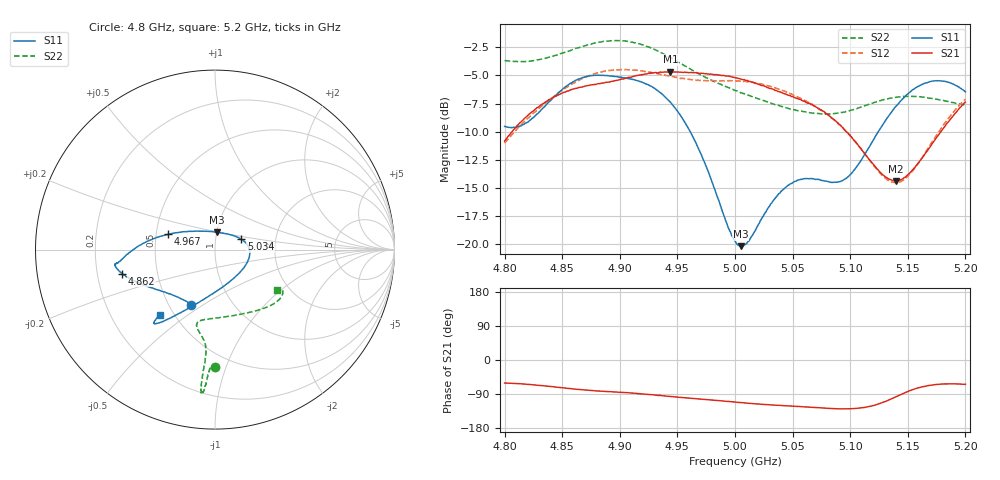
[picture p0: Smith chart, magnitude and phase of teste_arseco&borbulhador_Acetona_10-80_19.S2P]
! Network Analyzer HP8722D
! Hewlett-Packard
! Data name: Linha & Wilkinson
! Saver's name: Rodrigo Anjos
! Comments: Teste da utilização de aquisição
! continua pelo VNA HP8722D
! Time and date: 17/4/2025 14:31
!  Frequency  S11  S21  S12  S22
# HZ  S  MA R 50
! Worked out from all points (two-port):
!   401 points, 4.8 GHz to 5.2 GHz, reference 50 ohm
!   highest |S21| = -4.65 dB at 4.944 GHz (marker M1); lowest = -14.4 dB at 5.14 GHz (marker M2)
!   |S21| within 3 dB of the highest: 4.831 GHz to 5.068 GHz (236.4 MHz wide, 4.78 % of centre); 5.197345 GHz to end of sweep
!   lowest |S11| = -20.2 dB at 5.005 GHz (marker M3), VSWR 1.22, Z = 49.9 + j9.81 ohm
!   |S11| at or under -10 dB: 4.961 GHz to 5.124 GHz (163.3 MHz wide, 3.24 % of centre)
!   |S22| runs from -8.5 to -1.9 dB; largest |S21 - S12| = 0.88
!   S11 on the Smith chart (normalised r, x): 4.8 GHz: 0.65, -0.45; 4.862 GHz: 0.31, -0.11; 4.967 GHz: 0.58, +0.11; 5.034 GHz: 1.33, +0.16; 5.2 GHz: 0.42, -0.39
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4.8e9  0.3335 -113.3  0.2869 -60.8  0.2813 -175.0  0.6552 -89.9
4.819e9  0.3465 -133.1  0.3685 -64.0  0.358 -173.6  0.6494 -91.5
4.862e9  0.535 -165.5  0.4932 -77.0  0.5285 -176.6  0.7428 -93.8
4.867e9  0.5486 -167.5  0.4987 -78.5  0.5436 -177.7  0.7562 -94.0
4.902e9  0.5504 -172.3  0.5422 -85.4  0.5966 175.1  0.8024 -95.4
4.934e9  0.4764 -178.1  0.5798 -93.6  0.571 171.8  0.7174 -95.7
4.944e9  0.4271 177.3  0.5854 -96.3  0.5564 171.8  0.6763 -95.5
4.967e9  0.2751 162.0  0.5774 -102.2  0.5341 173.9  0.577 -94.9
5e9  0.1031 102.3  0.5499 -111.1  0.5319 176.2  0.4822 -99.2
5.005e9  0.09773 84.9  0.5417 -112.4  0.5301 176.2  0.4703 -100.4
5.012e9  0.103 62.2  0.5289 -114.2  0.5258 175.9  0.4584 -101.8
5.034e9  0.1578 21.4  0.4856 -119.2  0.4965 174.9  0.4183 -103.5
5.05e9  0.1873 5.1  0.4524 -121.8  0.4617 174.2  0.3983 -99.7
5.067e9  0.1953 -13.1  0.4168 -124.7  0.4191 173.7  0.3821 -90.9
5.087e9  0.188 -45.0  0.3539 -128.5  0.3527 173.7  0.3807 -75.7
5.098e9  0.1989 -67.9  0.3116 -128.7  0.3106 174.5  0.3896 -66.6
5.134e9  0.3748 -116.2  0.1942 -104.9  0.1905 -157.9  0.4445 -43.0
5.14e9  0.4113 -119.7  0.1907 -96.7  0.188 -148.4  0.4494 -40.4
5.153e9  0.4798 -125.1  0.2099 -79.6  0.2075 -128.7  0.4537 -35.7
5.17e9  0.5287 -128.7  0.2729 -66.5  0.2785 -112.6  0.4452 -31.9
5.184e9  0.5259 -130.0  0.3446 -63.0  0.3556 -107.2  0.4317 -31.0
5.2e9  0.4754 -130.4  0.4279 -64.2  0.4408 -106.4  0.415 -33.3
